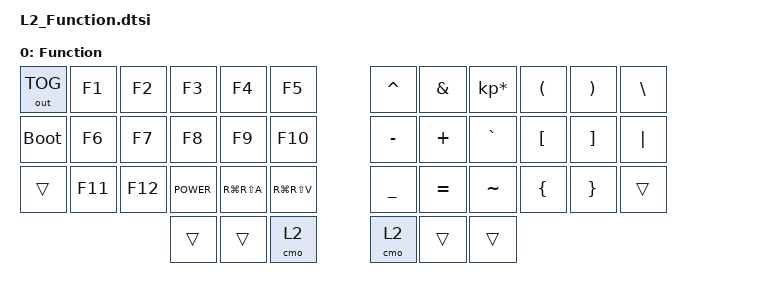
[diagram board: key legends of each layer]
/**
 * Function / System Layer
 */

/ {
  keymap {
    compatible = "zmk,keymap";

    layer_2 {
      label = "Function";
      bindings = <
// ╭───────────────┬───────────────┬───────────────┬───────────────┬───────────────┬───────────────╮   ╭───────────────┬───────────────┬───────────────┬───────────────┬───────────────┬───────────────╮
//  0               1               2               3               4               5                   6               7               8               9               10              11
    &out OUT_TOG    &kp F1          &kp F2          &kp F3          &kp F4          &kp F5              &kp CARET      &kp AMPS        &kp KP_MULTIPLY &kp LPAR        &kp RPAR        &kp BSLH
// ├───────────────├───────────────┼───────────────┼───────────────┼───────────────┼───────────────┤   ├───────────────├───────────────┼───────────────┼───────────────┼───────────────┼───────────────┤
//  12              13              14              15              16              17                  18              19              20              21              22              23
    &bootloader     &kp F6          &kp F7          &kp F8          &kp F9          &kp F10            &kp MINUS       &kp PLUS        &kp GRAVE       &kp LBKT        &kp RBKT        &kp PIPE
// ├───────────────├───────────────┼───────────────┼───────────────┼───────────────┼───────────────┤   ├───────────────├───────────────┼───────────────┼───────────────┼───────────────┼───────────────┤
//  24              25              26              27              28              29                  30              31              32              33              34              35
    &trans         &kp F11         &kp F12         &kp C_POWER     &kp RG(RS(A))   &kp RG(RS(V))       &kp UNDER       &kp EQUAL       &kp TILDE       &kp LBRC        &kp RBRC        &trans
// ╰───────────────┴───────────────┴───────────────┼───────────────┼───────────────┼───────────────┤   ├───────────────├───────────────┼───────────────┼───────────────┴───────────────┴───────────────╯
//                                                  36              37              38                  39              40              41
                                                   &trans          &trans          &cmo L2             &cmo L2         &trans          &trans
//                                                 ╰───────────────┴───────────────┴───────────────╯   ╰───────────────┴───────────────┴───────────────╯
      >;
    };
  };
};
